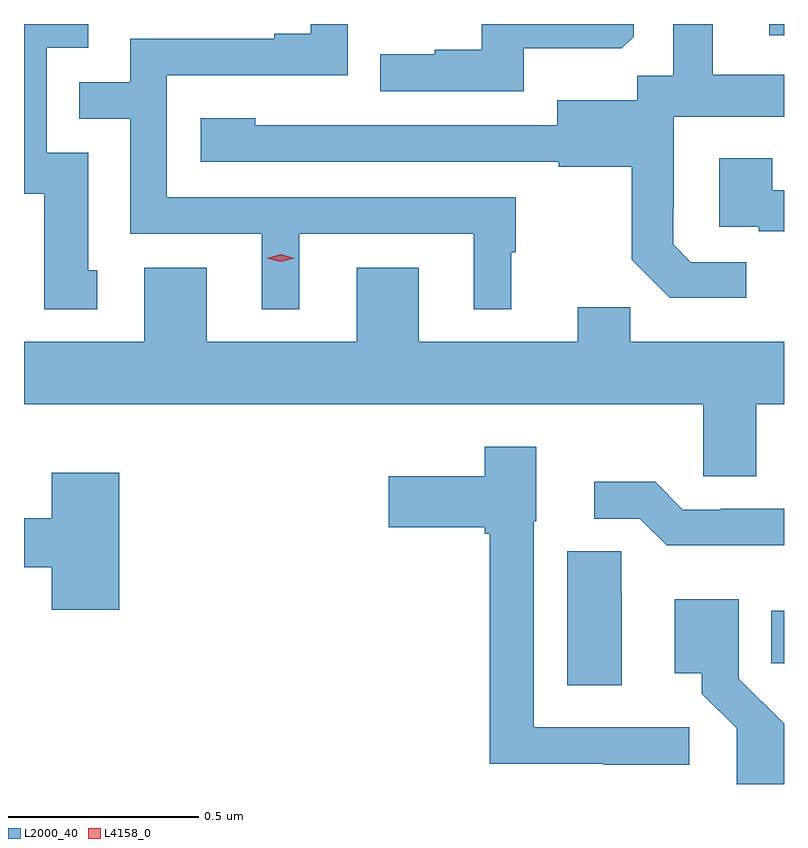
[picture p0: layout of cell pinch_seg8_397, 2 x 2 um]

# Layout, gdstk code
import gdstk
lib = gdstk.Library(unit=1e-6, precision=1e-09)
def R(c, l, rs):  # rectangles x0, y0, x1, y1
    for r in rs: c.add(gdstk.rectangle(r[:2], r[2:], *l))
def P(c, l, *ps):  # polygons
    for p in ps: c.add(gdstk.Polygon(p, *l))
L2000_40 = (2000, 40)
L4158_0 = (4158, 0)

pinch_seg8_397 = lib.new_cell('pinch_seg8_397')
R(pinch_seg8_397, L2000_40, [(437.848,1097.17,437.882,1097.308), (437.843,1098.822,437.882,1098.852)])
P(pinch_seg8_397, L2000_40, [(437.782,1098.225),(437.637,1098.225),(437.59,1098.272),(437.59,1098.367),(437.592,1098.367),(437.592,1098.608),(437.882,1098.608),(437.882,1098.718),(437.695,1098.718),(437.695,1098.852),(437.591,1098.852),(437.591,1098.716),(437.496,1098.716),(437.496,1098.652),(437.285,1098.652),(437.285,1098.585),(436.727,1098.585),(436.727,1098.586),(436.491,1098.586),(436.491,1098.604),(436.347,1098.604),(436.347,1098.489),(437.289,1098.489),(437.289,1098.477),(437.481,1098.477),(437.481,1098.231),(437.581,1098.131),(437.782,1098.131)],
  [(436.606,1098.3),(437.066,1098.3),(437.066,1098.101),(437.164,1098.101),(437.164,1098.252),(437.176,1098.252),(437.176,1098.396),(436.257,1098.396),(436.257,1098.717),(436.734,1098.717),(436.734,1098.852),(436.636,1098.852),(436.636,1098.826),(436.541,1098.826),(436.541,1098.813),(436.161,1098.813),(436.161,1098.699),(436.027,1098.699),(436.027,1098.603),(436.161,1098.603),(436.161,1098.3),(436.508,1098.3),(436.508,1098.101),(436.606,1098.101)],
  [(436.075,1098.204),(436.051,1098.204),(436.051,1098.513),(435.942,1098.513),(435.942,1098.789),(436.051,1098.789),(436.051,1098.852),(435.882,1098.852),(435.882,1098.405),(435.935,1098.405),(435.935,1098.102),(436.075,1098.102)],
  [(437.197,1098.788),(437.455,1098.788),(437.487,1098.819),(437.487,1098.852),(437.087,1098.852),(437.087,1098.784),(436.963,1098.784),(436.963,1098.772),(436.819,1098.772),(436.819,1098.675),(437.197,1098.675)],
  [(437.882,1098.414),(437.851,1098.414),(437.851,1098.499),(437.711,1098.499),(437.711,1098.318),(437.815,1098.318),(437.815,1098.306),(437.882,1098.306)],
  [(437.809,1097.852),(437.882,1097.852),(437.882,1098.016),(437.477,1098.016),(437.477,1098.107),(437.339,1098.107),(437.339,1098.016),(436.921,1098.016),(436.921,1098.211),(436.757,1098.211),(436.757,1098.016),(436.363,1098.016),(436.363,1098.211),(436.199,1098.211),(436.199,1098.016),(435.882,1098.016),(435.882,1097.852),(437.67,1097.852),(437.67,1097.662),(437.809,1097.662)],
  [(437.632,1097.001),(437.223,1097.001),(437.223,1097.544),(437.23,1097.544),(437.23,1097.74),(437.094,1097.74),(437.094,1097.662),(436.842,1097.662),(436.842,1097.528),(437.094,1097.528),(437.094,1097.51),(437.107,1097.51),(437.107,1096.905),(437.407,1096.905),(437.407,1096.903),(437.632,1096.903)],
  [(436.133,1097.671),(435.955,1097.671),(435.955,1097.551),(435.882,1097.551),(435.882,1097.422),(435.955,1097.422),(435.955,1097.31),(436.133,1097.31)],
  [(437.882,1097.577),(437.716,1097.577),(437.716,1097.574),(437.616,1097.574),(437.543,1097.647),(437.382,1097.647),(437.382,1097.55),(437.502,1097.55),(437.573,1097.48),(437.882,1097.48)],
  [(437.455,1097.354),(437.454,1097.354),(437.454,1097.465),(437.312,1097.465),(437.312,1097.112),(437.455,1097.112)],
  [(437.882,1097.01),(437.763,1097.129),(437.763,1097.338),(437.594,1097.338),(437.594,1097.144),(437.666,1097.144),(437.666,1097.089),(437.757,1096.999),(437.757,1096.852),(437.882,1096.852)])
P(pinch_seg8_397, L4158_0, [(436.557,1098.226),(436.521,1098.235),(436.521,1098.236),(436.521,1098.236),(436.557,1098.246),(436.593,1098.236),(436.593,1098.236),(436.593,1098.235)])

lib.write_gds('pinch_seg8_397.gds')
